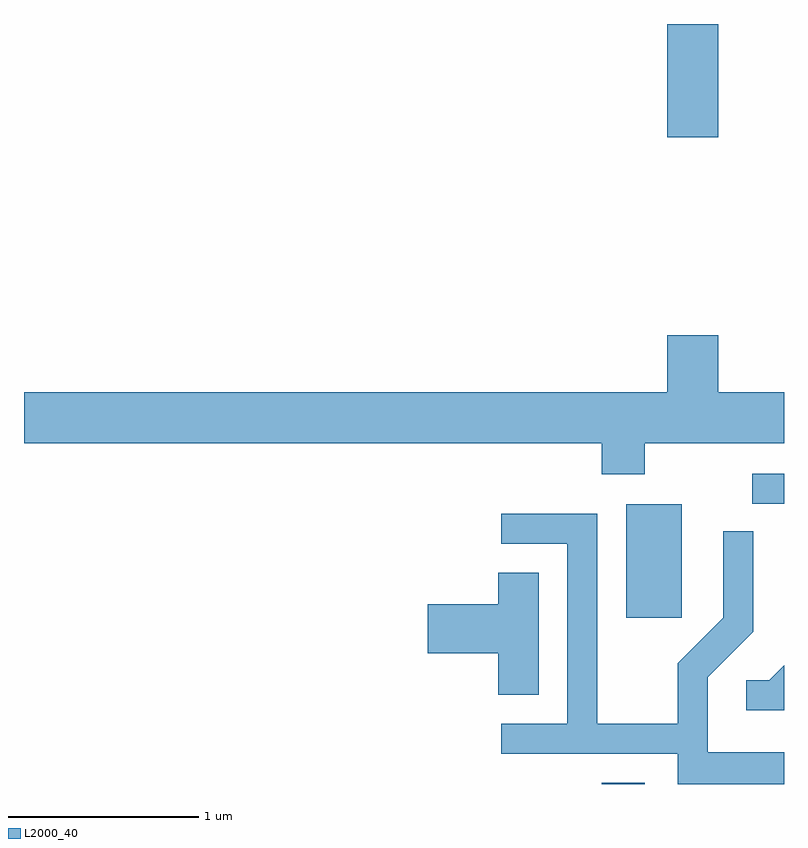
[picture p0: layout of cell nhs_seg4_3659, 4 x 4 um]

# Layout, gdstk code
import gdstk
lib = gdstk.Library(unit=1e-6, precision=1e-09)
def R(c, l, rs):  # rectangles x0, y0, x1, y1
    for r in rs: c.add(gdstk.rectangle(r[:2], r[2:], *l))
def P(c, l, *ps):  # polygons
    for p in ps: c.add(gdstk.Polygon(p, *l))
L2000_40 = (2000, 40)

nhs_seg4_3659 = lib.new_cell('nhs_seg4_3659')
R(nhs_seg4_3659, L2000_40, [(294.651,1363.982,294.879,1363.989), (294.781,1364.856,295.074,1365.454), (295.443,1365.456,295.611,1365.614), (294.996,1367.386,295.264,1367.982)])
P(nhs_seg4_3659, L2000_40, [(295.611,1366.044),(295.264,1366.044),(295.264,1366.344),(294.996,1366.344),(294.996,1366.044),(291.611,1366.044),(291.611,1365.776),(294.651,1365.776),(294.651,1365.611),(294.879,1365.611),(294.879,1365.776),(295.611,1365.776)],
  [(295.611,1364.149),(295.209,1364.149),(295.209,1364.544),(295.449,1364.784),(295.449,1365.313),(295.291,1365.313),(295.291,1364.857),(295.051,1364.617),(295.051,1364.299),(294.629,1364.299),(294.629,1365.404),(294.123,1365.404),(294.123,1365.246),(294.471,1365.246),(294.471,1364.299),(294.123,1364.299),(294.123,1364.141),(295.051,1364.141),(295.051,1363.982),(295.611,1363.982)],
  [(294.319,1365.094),(294.106,1365.094),(294.106,1364.929),(293.736,1364.929),(293.736,1364.671),(294.106,1364.671),(294.106,1364.451),(294.319,1364.451)],
  [(295.611,1364.607),(295.534,1364.529),(295.413,1364.529),(295.413,1364.371),(295.611,1364.371)])

lib.write_gds('nhs_seg4_3659.gds')
